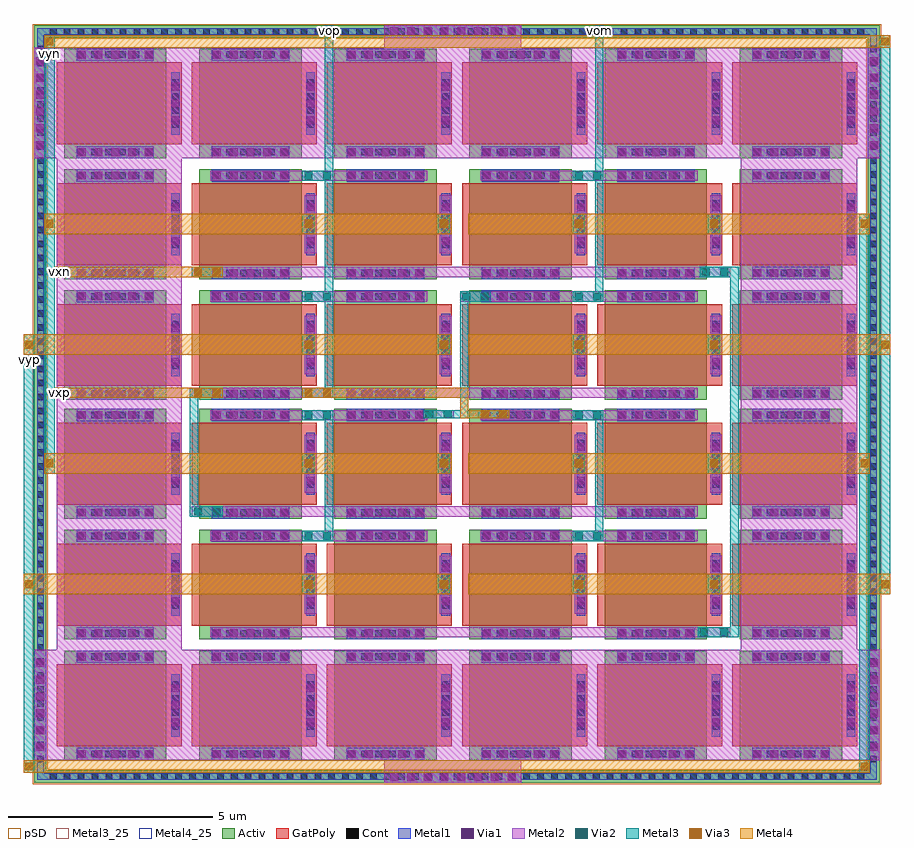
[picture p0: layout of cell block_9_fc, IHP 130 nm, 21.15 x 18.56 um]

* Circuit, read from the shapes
.subckt block_9_fc vom vop vxn vxp vyn vyp
XM1 sg13_lv_nmos_HHNSBE_0/D sg13_lv_nmos_HHNSBE_0/D sg13_lv_nmos_HHNSBE_0/D sg13_lv_nmos_HHNSBE_0/D sg13_lv_nmos w=2.5u l=2u m=20
XM2 vom vyp vxn sg13_lv_nmos_HHNSBE_0/D sg13_lv_nmos w=2.5u l=2u m=4
XM3 vom vyn vxp sg13_lv_nmos_HHNSBE_0/D sg13_lv_nmos w=2.5u l=2u m=4
XM4 vop vyp vxp sg13_lv_nmos_HHNSBE_0/D sg13_lv_nmos w=2.5u l=2u m=4
XM5 vop vyn vxn sg13_lv_nmos_HHNSBE_0/D sg13_lv_nmos w=2.5u l=2u m=4
.ends

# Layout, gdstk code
from math import pi, radians
import gdstk
lib = gdstk.Library(unit=1e-6, precision=1e-09)
def R(c, l, rs):  # rectangles x0, y0, x1, y1
    for r in rs: c.add(gdstk.rectangle(r[:2], r[2:], *l))
def A(c, l, x, y, w, h, nx, ny, dx, dy):  # array of equal rectangles
    R(c, l, [(x+i*dx, y+j*dy, x+i*dx+w, y+j*dy+h) for i in range(nx) for j in range(ny)])
Activ = (1, 0)
GatPoly = (5, 0)
Cont = (6, 0)
Metal1 = (8, 0)
Metal2 = (10, 0)
pSD = (14, 0)
Via1 = (19, 0)
Via2 = (29, 0)
Metal3 = (30, 0)
Metal3_25 = (30, 25)
Via3 = (49, 0)
Metal4 = (50, 0)
Metal4_25 = (50, 25)

sg13_lv_nmos_hhnsbe = lib.new_cell('sg13_lv_nmos_HHNSBE')
R(sg13_lv_nmos_hhnsbe, Activ, [(-1.34,-1.345,1.34,1.155)])
R(sg13_lv_nmos_hhnsbe, GatPoly, [(-1,-1.525,1,1.525)])
A(sg13_lv_nmos_hhnsbe, Cont, -1.27, -1.025, 0.16, 0.16, 1, 6, 0, 0.34)
A(sg13_lv_nmos_hhnsbe, Cont, 1.11, -1.025, 0.16, 0.16, 1, 6, 0, 0.34)
A(sg13_lv_nmos_hhnsbe, Cont, -0.59, 1.295, 0.16, 0.16, 4, 1, 0.34, 0)
R(sg13_lv_nmos_hhnsbe, Metal1, [(-1.34,-1.04,-1.04,0.85), (1.04,-1.04,1.34,0.85), (-0.76,1.27,0.76,1.48)])
R(sg13_lv_nmos_hhnsbe, Metal2, [(-1.29,-1.08,-1.09,0.89), (1.09,-1.08,1.29,0.89), (-0.71,1.23,0.71,1.52)])
A(sg13_lv_nmos_hhnsbe, Via1, -1.285, -1.01, 0.19, 0.19, 1, 5, 0, 0.41)
A(sg13_lv_nmos_hhnsbe, Via1, 1.095, -1.01, 0.19, 0.19, 1, 5, 0, 0.41)
A(sg13_lv_nmos_hhnsbe, Via1, -0.505, 1.28, 0.19, 0.19, 3, 1, 0.41, 0)
sg13_lv_nmos_hhnsbe.add(gdstk.Label('D', (-1.19,-0.095), layer=8, texttype=25))
sg13_lv_nmos_hhnsbe.add(gdstk.Label('S', (1.19,-0.095), layer=8, texttype=25))
sg13_lv_nmos_hhnsbe.add(gdstk.Label('G', (0,1.375), layer=8, texttype=25))

block_9_fc = lib.new_cell('block_9_fc')
R(block_9_fc, Activ, [(-0.55,-3.5,20.1,-3.2), (-0.55,-3.2,-0.25,14.7), (19.8,-3.2,20.1,14.7), (-0.55,14.7,20.1,15)])
A(block_9_fc, Cont, -0.165, -3.43, 0.16, 0.16, 59, 2, 0.34, 18.2)
A(block_9_fc, Cont, -0.48, -3, 0.16, 0.16, 1, 52, 0, 0.34)
A(block_9_fc, Cont, 19.87, -3, 0.16, 0.16, 1, 52, 0, 0.34)
R(block_9_fc, Metal1, [(8,-3.5,11.35,-3.43), (-0.48,-3.43,20.03,-3.27), (-0.48,-3.27,-0.32,-2.95), (8,-3.27,11.35,-3.2), (19.87,-3.27,20.03,-2.95), (-0.55,-2.95,-0.25,-0.25), (19.8,-2.95,20.1,-0.25), (-0.48,-0.25,-0.32,11.75), (19.87,-0.25,20.03,11.75), (-0.55,11.75,-0.25,14.45), (19.8,11.75,20.1,14.45), (-0.48,14.45,-0.32,14.77), (19.87,14.45,20.03,14.77), (8,14.7,11.35,14.77), (-0.48,14.77,20.03,14.93), (8,14.93,11.35,15)])
A(block_9_fc, Metal2, 6, 1.1, 0.3, 0.5, 4, 2, 3.3, 2.95)
A(block_9_fc, Metal2, 6, 6.95, 0.3, 0.5, 4, 2, 3.3, 2.95)
R(block_9_fc, Metal2, [(8,-3.5,11.35,-2.95), (-0.55,-2.95,20.1,-0.25), (0,-0.25,3.05,11.75), (16.7,-0.25,19.55,11.75), (3.75,0.05,16.45,0.3), (3.75,2.4,9.05,2.65), (10.35,2.4,15.65,2.65), (3.3,3,15.65,3.25), (3.75,5.35,9.05,5.4), (10.35,5.35,15.65,5.4), (3.75,5.4,9.7,5.6), (10.3,5.4,15.65,5.6), (3.3,5.9,15.65,6.15), (3.75,8.25,9.05,8.5), (9.85,8.25,15.65,8.5), (3.3,8.85,16.45,9.1), (3.75,11.2,9.05,11.45), (10.35,11.2,15.65,11.45), (-0.55,11.75,20.1,14.45), (8,14.45,11.35,15)])
R(block_9_fc, pSD, [(-0.58,-3.53,20.13,-3.17), (-0.58,-3.17,-0.22,14.67), (19.77,-3.17,20.13,14.67), (-0.58,14.67,20.13,15.03)])
A(block_9_fc, Via1, 8.145, -3.445, 0.19, 0.19, 8, 2, 0.41, 18.2)
A(block_9_fc, Via1, -0.495, -2.72, 0.19, 0.19, 1, 6, 0, 0.41)
A(block_9_fc, Via1, 19.855, -2.72, 0.19, 0.19, 1, 6, 0, 0.41)
A(block_9_fc, Via1, -0.495, 11.98, 0.19, 0.19, 1, 6, 0, 0.41)
A(block_9_fc, Via1, 19.855, 11.98, 0.19, 0.19, 1, 6, 0, 0.41)
A(block_9_fc, Via2, 6.055, 1.255, 0.19, 0.19, 4, 2, 3.3, 2.95)
A(block_9_fc, Via2, 6.055, 7.105, 0.19, 0.19, 4, 2, 3.3, 2.95)
R(block_9_fc, Via2, [(15.705,0.08,15.895,0.27), (16.205,0.08,16.395,0.27), (6.055,2.43,6.245,2.62), (6.505,2.43,6.695,2.62), (12.655,2.43,12.845,2.62), (13.105,2.43,13.295,2.62), (3.355,3.03,3.545,3.22), (3.805,3.03,3.995,3.22), (6.055,5.38,6.245,5.57), (6.505,5.38,6.695,5.57), (12.655,5.38,12.845,5.57), (13.105,5.38,13.295,5.57), (9.005,5.405,9.195,5.595), (9.455,5.405,9.645,5.595), (10.355,5.405,10.545,5.595), (10.805,5.405,10.995,5.595), (3.355,5.93,3.545,6.12), (3.805,5.93,3.995,6.12), (6.055,8.28,6.245,8.47), (6.505,8.28,6.695,8.47), (9.905,8.28,10.095,8.47), (10.355,8.28,10.545,8.47), (12.655,8.28,12.845,8.47), (13.105,8.28,13.295,8.47), (3.355,8.88,3.545,9.07), (3.805,8.88,3.995,9.07), (15.755,8.88,15.945,9.07), (16.205,8.88,16.395,9.07), (6.055,11.23,6.245,11.42), (6.505,11.23,6.695,11.42), (12.655,11.23,12.845,11.42), (13.105,11.23,13.295,11.42)])
A(block_9_fc, Metal3, 6, 1.1, 0.3, 0.5, 4, 2, 3.3, 2.95)
A(block_9_fc, Metal3, 6, 6.95, 0.3, 0.5, 4, 2, 3.3, 2.95)
R(block_9_fc, Metal3, [(-0.8,-3.25,-0.55,7.45), (19.6,-3.25,19.85,10.4), (15.65,0.05,16.65,0.3), (16.45,0.3,16.65,8.85), (20.1,1.1,20.35,14.75), (6,2.4,6.75,2.65), (12.6,2.4,13.35,2.65), (6.55,2.65,6.75,5.35), (13.15,2.65,13.35,5.35), (3.25,3,4.05,3.25), (3.25,3.25,3.45,5.9), (-0.3,4.05,-0.05,14.75), (6,5.35,6.75,5.6), (12.6,5.35,13.35,5.6), (8.95,5.4,10.05,5.6), (10.3,5.4,11.05,5.6), (9.85,5.6,10.05,8.25), (3.25,5.9,4.05,6.15), (6,5.9,6.75,6.15), (6.55,6.15,6.75,8.25), (6,8.25,6.75,8.5), (9.85,8.25,10.6,8.5), (12.6,8.25,13.35,8.5), (6.55,8.5,6.75,11.2), (13.15,8.5,13.35,11.2), (3.3,8.85,4.05,9.1), (15.7,8.85,16.65,9.1), (6,11.2,6.75,11.45), (12.6,11.2,13.35,11.45), (6.55,11.45,6.75,15), (13.15,11.45,13.35,15)])
R(block_9_fc, Metal3_25, [(-0.8,6.7,-0.55,6.95), (-0.3,14.15,-0.05,14.45), (6.55,14.75,6.75,15), (13.15,14.75,13.35,15)])
A(block_9_fc, Via3, 6.055, 1.255, 0.19, 0.19, 4, 2, 3.3, 2.95)
A(block_9_fc, Via3, 6.055, 7.105, 0.19, 0.19, 4, 2, 3.3, 2.95)
R(block_9_fc, Via3, [(-0.77,-3.195,-0.58,-3.005), (19.63,-3.195,19.82,-3.005), (-0.77,1.255,-0.58,1.445), (20.13,1.255,20.32,1.445), (-0.27,4.205,-0.08,4.395), (19.63,4.205,19.82,4.395), (10.355,5.405,10.545,5.595), (10.805,5.405,10.995,5.595), (3.355,5.93,3.545,6.12), (3.805,5.93,3.995,6.12), (6.055,5.93,6.245,6.12), (6.505,5.93,6.695,6.12), (-0.77,7.105,-0.58,7.295), (20.13,7.105,20.32,7.295), (3.355,8.88,3.545,9.07), (3.805,8.88,3.995,9.07), (-0.27,10.055,-0.08,10.245), (19.63,10.055,19.82,10.245), (-0.27,14.505,-0.08,14.695), (20.13,14.505,20.32,14.695)])
R(block_9_fc, Metal4, [(-0.8,-3.25,19.85,-2.95), (-0.8,1.1,9.65,1.6), (10.05,1.1,20.35,1.6), (-0.3,4.05,9.65,4.55), (10.05,4.05,19.85,4.55), (9.85,5.4,11.05,5.6), (9.85,5.6,10.05,5.9), (-0.05,5.9,4.05,6.15), (6,5.9,10.05,6.15), (-0.8,6.95,9.65,7.45), (10.05,6.95,20.35,7.45), (-0.05,8.85,4.05,9.1), (-0.3,9.9,9.65,10.4), (10.05,9.9,19.85,10.4), (-0.3,14.45,20.35,14.75)])
R(block_9_fc, Metal4_25, [(-0.05,5.9,0.2,6.15), (-0.05,8.85,0.2,9.1)])
block_9_fc.add(gdstk.Reference(sg13_lv_nmos_hhnsbe, (1.525,1.34), rotation=3*pi/2))
block_9_fc.add(gdstk.Reference(sg13_lv_nmos_hhnsbe, (1.525,-1.61), rotation=3*pi/2))
block_9_fc.add(gdstk.Reference(sg13_lv_nmos_hhnsbe, (4.825,1.34), rotation=3*pi/2))
block_9_fc.add(gdstk.Reference(sg13_lv_nmos_hhnsbe, (4.825,-1.61), rotation=3*pi/2))
block_9_fc.add(gdstk.Reference(sg13_lv_nmos_hhnsbe, (8.125,1.34), rotation=3*pi/2))
block_9_fc.add(gdstk.Reference(sg13_lv_nmos_hhnsbe, (8.125,-1.61), rotation=3*pi/2))
block_9_fc.add(gdstk.Reference(sg13_lv_nmos_hhnsbe, (11.425,1.34), rotation=3*pi/2))
block_9_fc.add(gdstk.Reference(sg13_lv_nmos_hhnsbe, (11.425,-1.61), rotation=3*pi/2))
block_9_fc.add(gdstk.Reference(sg13_lv_nmos_hhnsbe, (14.725,1.34), rotation=3*pi/2))
block_9_fc.add(gdstk.Reference(sg13_lv_nmos_hhnsbe, (14.725,-1.61), rotation=3*pi/2))
block_9_fc.add(gdstk.Reference(sg13_lv_nmos_hhnsbe, (18.025,1.34), rotation=3*pi/2))
block_9_fc.add(gdstk.Reference(sg13_lv_nmos_hhnsbe, (18.025,-1.61), rotation=3*pi/2))
block_9_fc.add(gdstk.Reference(sg13_lv_nmos_hhnsbe, (1.525,4.29), rotation=3*pi/2))
block_9_fc.add(gdstk.Reference(sg13_lv_nmos_hhnsbe, (4.825,4.29), rotation=3*pi/2))
block_9_fc.add(gdstk.Reference(sg13_lv_nmos_hhnsbe, (8.125,4.29), rotation=3*pi/2))
block_9_fc.add(gdstk.Reference(sg13_lv_nmos_hhnsbe, (11.425,4.29), rotation=3*pi/2))
block_9_fc.add(gdstk.Reference(sg13_lv_nmos_hhnsbe, (14.725,4.29), rotation=3*pi/2))
block_9_fc.add(gdstk.Reference(sg13_lv_nmos_hhnsbe, (18.025,4.29), rotation=3*pi/2))
block_9_fc.add(gdstk.Reference(sg13_lv_nmos_hhnsbe, (1.525,7.19), rotation=3*pi/2))
block_9_fc.add(gdstk.Reference(sg13_lv_nmos_hhnsbe, (4.825,7.19), rotation=3*pi/2))
block_9_fc.add(gdstk.Reference(sg13_lv_nmos_hhnsbe, (8.125,7.19), rotation=3*pi/2))
block_9_fc.add(gdstk.Reference(sg13_lv_nmos_hhnsbe, (11.425,7.19), rotation=3*pi/2))
block_9_fc.add(gdstk.Reference(sg13_lv_nmos_hhnsbe, (14.725,7.19), rotation=3*pi/2))
block_9_fc.add(gdstk.Reference(sg13_lv_nmos_hhnsbe, (18.025,7.19), rotation=3*pi/2))
block_9_fc.add(gdstk.Reference(sg13_lv_nmos_hhnsbe, (1.525,10.14), rotation=3*pi/2))
block_9_fc.add(gdstk.Reference(sg13_lv_nmos_hhnsbe, (4.825,10.14), rotation=3*pi/2))
block_9_fc.add(gdstk.Reference(sg13_lv_nmos_hhnsbe, (8.125,10.14), rotation=3*pi/2))
block_9_fc.add(gdstk.Reference(sg13_lv_nmos_hhnsbe, (11.425,10.14), rotation=3*pi/2))
block_9_fc.add(gdstk.Reference(sg13_lv_nmos_hhnsbe, (14.725,10.14), rotation=3*pi/2))
block_9_fc.add(gdstk.Reference(sg13_lv_nmos_hhnsbe, (18.025,10.14), rotation=3*pi/2))
block_9_fc.add(gdstk.Reference(sg13_lv_nmos_hhnsbe, (1.525,13.09), rotation=3*pi/2))
block_9_fc.add(gdstk.Reference(sg13_lv_nmos_hhnsbe, (4.825,13.09), rotation=3*pi/2))
block_9_fc.add(gdstk.Reference(sg13_lv_nmos_hhnsbe, (8.125,13.09), rotation=3*pi/2))
block_9_fc.add(gdstk.Reference(sg13_lv_nmos_hhnsbe, (11.425,13.09), rotation=3*pi/2))
block_9_fc.add(gdstk.Reference(sg13_lv_nmos_hhnsbe, (14.725,13.09), rotation=3*pi/2))
block_9_fc.add(gdstk.Reference(sg13_lv_nmos_hhnsbe, (18.025,13.09), rotation=3*pi/2))
block_9_fc.add(gdstk.Label('vyn', (-0.175,14.3), layer=30, texttype=25))
block_9_fc.add(gdstk.Label('vxn', (0.075,8.975), layer=50, texttype=25))
block_9_fc.add(gdstk.Label('vxp', (0.075,6.025), layer=50, texttype=25))
block_9_fc.add(gdstk.Label('vyp', (-0.675,6.825), layer=30, texttype=25))
block_9_fc.add(gdstk.Label('vop', (6.65,14.875), layer=30, texttype=25))
block_9_fc.add(gdstk.Label('vom', (13.25,14.875), layer=30, texttype=25))

lib.write_gds('block_9_fc.gds')
